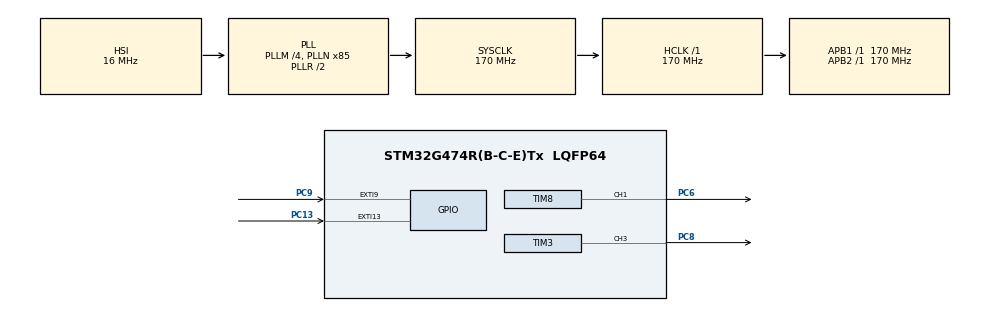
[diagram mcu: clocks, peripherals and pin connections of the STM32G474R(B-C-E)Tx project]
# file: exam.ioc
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Mcu.Family=STM32G4
Mcu.Name=STM32G474R(B-C-E)Tx
Mcu.Package=LQFP64
NVIC.EXTI15_10_IRQn=true\:1\:0\:true\:false\:true\:true\:true\:true
NVIC.EXTI9_5_IRQn=true\:0\:0\:false\:false\:true\:true\:true\:true
NVIC.PriorityGroup=NVIC_PRIORITYGROUP_4
PA13.GPIO_Label=T_SWDIO
PA13.Signal=SYS_JTMS-SWDIO
PA14.GPIO_Label=T_SWCLK
PA14.Signal=SYS_JTCK-SWCLK
PA2.GPIO_Label=LPUART1_TX [STLINKV3E_VCP_RX]
PA2.Signal=LPUART1_TX
PA3.GPIO_Label=LPUART1_RX [STLINKV3E_VCP_TX]
PA3.Signal=LPUART1_RX
PB3.GPIO_Label=T_SWO
PB3.Signal=SYS_JTDO-SWO
PC13.Signal=GPXTI13
PC14-OSC32_IN.GPIO_Label=RCC_OSC32_IN
PC14-OSC32_IN.Signal=RCC_OSC32_IN
PC15-OSC32_OUT.GPIO_Label=RCC_OSC32_OUT
PC15-OSC32_OUT.Signal=RCC_OSC32_OUT
PC6.Signal=S_TIM8_CH1
PC8.Signal=S_TIM3_CH3
PC9.Signal=GPXTI9
PF0-OSC_IN.GPIO_Label=RCC_OSC_IN
PF0-OSC_IN.Signal=RCC_OSC_IN
PF1-OSC_OUT.GPIO_Label=RCC_OSC_OUT
PF1-OSC_OUT.Signal=RCC_OSC_OUT
ProjectManager.HeapSize=0x200
ProjectManager.StackSize=0x400
ProjectManager.TargetToolchain=STM32CubeIDE
RCC.ADC12Freq_Value=170000000
RCC.ADC345Freq_Value=170000000
RCC.AHBFreq_Value=170000000
RCC.APB1Freq_Value=170000000
RCC.APB1TimFreq_Value=170000000
RCC.APB2Freq_Value=170000000
RCC.APB2TimFreq_Value=170000000
RCC.CortexFreq_Value=170000000
RCC.EXTERNAL_CLOCK_VALUE=12288000
RCC.HCLKFreq_Value=170000000
RCC.HSE_VALUE=24000000
RCC.HSI48_VALUE=48000000
RCC.HSI_VALUE=16000000
RCC.LSE_VALUE=32768
RCC.PLLM=RCC_PLLM_DIV4
RCC.PLLN=85
RCC.RTCClockSelection=RCC_RTCCLKSOURCE_LSE
RCC.SYSCLKFreq_VALUE=170000000
RCC.SYSCLKSource=RCC_SYSCLKSOURCE_PLLCLK
RCC.USBFreq_Value=170000000
RCC.VCOOutputFreq_Value=340000000
SH.S_TIM3_CH3.0=TIM3_CH3,PWM Generation3 CH3
SH.S_TIM8_CH1.0=TIM8_CH1,PWM Generation1 CH1
TIM3.Channel-PWM\ Generation3\ CH3=TIM_CHANNEL_3
TIM8.Channel-PWM\ Generation1\ CH1=TIM_CHANNEL_1
TIM8.PeriodNoDither=999
TIM8.Prescaler=169
VP_SYS_VS_DBSignals.Mode=DisableDeadBatterySignals
VP_TIM3_VS_ClockSourceINT.Mode=Internal
VP_TIM8_VS_ClockSourceINT.Mode=Internal
board=NUCLEO-G474RE

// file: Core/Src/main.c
/* USER CODE BEGIN Header */
/**
  ******************************************************************************
  * @file           : main.c
  * @brief          : Drink Reminder for NUCLEO-G474RE
  ******************************************************************************
  * @attention
  *
  * Hardware Pinout:
  * - PC13: Button (Check-in, Alarm off, Reset timer) -> EXTI13
  * - PC9 : Button (Cycle 30s / 45s / 60s)            -> EXTI9
  * - PC8 : LED PWM (Breathe idle, Rapid blink alarm) -> TIM3_CH3
  * - PC6 : Buzzer PWM (1~3 beeps, confirm, alarm)   -> TIM8_CH1
  *
  * Copyright (c) 2026 STMicroelectronics.
  * All rights reserved.
  ******************************************************************************
  */
/* USER CODE END Header */
#include "main.h"

/* USER CODE BEGIN Includes */
#include "stm32g4xx_hal_tim.h"
/* USER CODE END Includes */

/* USER CODE BEGIN PTD */
typedef enum {
    STATE_IDLE_COUNTDOWN,
    STATE_ALARM_TRIGGERED
} SystemState_t;

typedef enum {
    BEEP_IDLE,
    BEEP_SHORT_TONES,  // 切換檔位：嗶 1~3 聲
    BEEP_LONG_CONFIRM, // 打卡：長嗶 500ms
    BEEP_ALARM_RAPID   // 警報：急促連響
} BeepMode_t;
/* USER CODE END PTD */

/* USER CODE BEGIN PD */
#define DEBOUNCE_DELAY_MS 200
/* USER CODE END PD */

TIM_HandleTypeDef htim3;
TIM_HandleTypeDef htim8;

/* USER CODE BEGIN PV */
// 倒數檔位設定 (秒)
const uint32_t INTERVAL_SETTINGS[3] = {30, 45, 60};
volatile uint8_t current_interval_idx = 0; // 0: 30s, 1: 45s, 2: 60s

volatile SystemState_t sys_state = STATE_IDLE_COUNTDOWN;
volatile uint32_t target_countdown_ms = 30000;
volatile uint32_t countdown_start_tick = 0;

// 去彈跳時間戳記
volatile uint32_t last_pc13_press_tick = 0;
volatile uint32_t last_pc9_press_tick = 0;

// 蜂鳴器狀態控制變數
volatile BeepMode_t beep_mode = BEEP_IDLE;
volatile uint8_t beep_repeat_count = 0;
uint32_t beep_step_tick = 0;
uint8_t beep_state_step = 0;
/* USER CODE END PV */

void SystemClock_Config(void);
static void MX_GPIO_Init(void);
static void MX_TIM3_Init(void);
static void MX_TIM8_Init(void);
/* USER CODE BEGIN PFP */
void Buzzer_Set(uint8_t on);
void Update_Buzzer(uint32_t now);
void Update_LED(uint32_t now);
/* USER CODE END PFP */

int main(void)
{

  /* MCU Configuration--------------------------------------------------------*/

  /* Reset of all peripherals, Initializes the Flash interface and the Systick. */
  HAL_Init();

  /* Configure the system clock */
  SystemClock_Config();

  /* Initialize all configured peripherals */
  MX_GPIO_Init();
  MX_TIM3_Init();
  MX_TIM8_Init();
  /* USER CODE BEGIN 2 */
  // 1. 動態修正 TIM3 (LED PWM)：Prescaler 169, Period 999 產生 1 kHz PWM
  __HAL_TIM_SET_PRESCALER(&htim3, 169);
  __HAL_TIM_SET_AUTORELOAD(&htim3, 999);

  // 2. 啟動 PWM 輸出
  HAL_TIM_PWM_Start(&htim3, TIM_CHANNEL_3); // PC8 (LED)
  HAL_TIM_PWM_Start(&htim8, TIM_CHANNEL_1); // PC6 (Buzzer)

  // 3. 啟用 TIM8 高級定時器主輸出 (MOE)，使 PC6 順利輸出訊號
  __HAL_TIM_MOE_ENABLE(&htim8);
  Buzzer_Set(0);

  // 4. 動態修正 PC9 為 EXTI 下降緣觸發中斷並開啟 NVIC
  GPIO_InitTypeDef GPIO_InitStruct = {0};
  GPIO_InitStruct.Pin = GPIO_PIN_9;
  GPIO_InitStruct.Mode = GPIO_MODE_IT_FALLING;
  GPIO_InitStruct.Pull = GPIO_PULLUP;
  HAL_GPIO_Init(GPIOC, &GPIO_InitStruct);

  HAL_NVIC_SetPriority(EXTI9_5_IRQn, 2, 0);
  HAL_NVIC_EnableIRQ(EXTI9_5_IRQn);

  // 5. 初始化倒數計時時間點
  countdown_start_tick = HAL_GetTick();
  /* USER CODE END 2 */

  /* Infinite loop */
  /* USER CODE BEGIN WHILE */
  while (1)
  {
    uint32_t current_tick = HAL_GetTick();

    // 1. 倒數計時判斷
    if (sys_state == STATE_IDLE_COUNTDOWN)
    {
      if (current_tick - countdown_start_tick >= target_countdown_ms)
      {
        sys_state = STATE_ALARM_TRIGGERED;
        beep_mode = BEEP_ALARM_RAPID; // 切入急促連響
      }
    }

    // 2. 非阻塞更新輸出狀態
    Update_LED(current_tick);
    Update_Buzzer(current_tick);

    /* USER CODE END WHILE */

  }
}

void SystemClock_Config(void)
{
  RCC_OscInitTypeDef RCC_OscInitStruct = {0};
  RCC_ClkInitTypeDef RCC_ClkInitStruct = {0};

  /** Configure the main internal regulator output voltage
  */
  HAL_PWREx_ControlVoltageScaling(PWR_REGULATOR_VOLTAGE_SCALE1_BOOST);

  /** Initializes the RCC Oscillators according to the specified parameters
  * in the RCC_OscInitTypeDef structure.
  */
  RCC_OscInitStruct.OscillatorType = RCC_OSCILLATORTYPE_HSI;
  RCC_OscInitStruct.HSIState = RCC_HSI_ON;
  RCC_OscInitStruct.HSICalibrationValue = RCC_HSICALIBRATION_DEFAULT;
  RCC_OscInitStruct.PLL.PLLState = RCC_PLL_ON;
  RCC_OscInitStruct.PLL.PLLSource = RCC_PLLSOURCE_HSI;
  RCC_OscInitStruct.PLL.PLLM = RCC_PLLM_DIV4;
  RCC_OscInitStruct.PLL.PLLN = 85;
  RCC_OscInitStruct.PLL.PLLP = RCC_PLLP_DIV2;
  RCC_OscInitStruct.PLL.PLLQ = RCC_PLLQ_DIV2;
  RCC_OscInitStruct.PLL.PLLR = RCC_PLLR_DIV2;
  if (HAL_RCC_OscConfig(&RCC_OscInitStruct) != HAL_OK)
  {
    Error_Handler();
  }

  /** Initializes the CPU, AHB and APB buses clocks
  */
  RCC_ClkInitStruct.ClockType = RCC_CLOCKTYPE_HCLK|RCC_CLOCKTYPE_SYSCLK
                              |RCC_CLOCKTYPE_PCLK1|RCC_CLOCKTYPE_PCLK2;
  RCC_ClkInitStruct.SYSCLKSource = RCC_SYSCLKSOURCE_PLLCLK;
  RCC_ClkInitStruct.AHBCLKDivider = RCC_SYSCLK_DIV1;
  RCC_ClkInitStruct.APB1CLKDivider = RCC_HCLK_DIV1;
  RCC_ClkInitStruct.APB2CLKDivider = RCC_HCLK_DIV1;

  if (HAL_RCC_ClockConfig(&RCC_ClkInitStruct, FLASH_LATENCY_4) != HAL_OK)
  {
    Error_Handler();
  }
}

static void MX_TIM3_Init(void)
{

  TIM_ClockConfigTypeDef sClockSourceConfig = {0};
  TIM_MasterConfigTypeDef sMasterConfig = {0};
  TIM_OC_InitTypeDef sConfigOC = {0};

  htim3.Instance = TIM3;
  htim3.Init.Prescaler = 0;
  htim3.Init.CounterMode = TIM_COUNTERMODE_UP;
  htim3.Init.Period = 65535;
  htim3.Init.ClockDivision = TIM_CLOCKDIVISION_DIV1;
  htim3.Init.AutoReloadPreload = TIM_AUTORELOAD_PRELOAD_DISABLE;
  if (HAL_TIM_Base_Init(&htim3) != HAL_OK)
  {
    Error_Handler();
  }
  sClockSourceConfig.ClockSource = TIM_CLOCKSOURCE_INTERNAL;
  if (HAL_TIM_ConfigClockSource(&htim3, &sClockSourceConfig) != HAL_OK)
  {
    Error_Handler();
  }
  if (HAL_TIM_PWM_Init(&htim3) != HAL_OK)
  {
    Error_Handler();
  }
  sMasterConfig.MasterOutputTrigger = TIM_TRGO_RESET;
  sMasterConfig.MasterSlaveMode = TIM_MASTERSLAVEMODE_DISABLE;
  if (HAL_TIMEx_MasterConfigSynchronization(&htim3, &sMasterConfig) != HAL_OK)
  {
    Error_Handler();
  }
  sConfigOC.OCMode = TIM_OCMODE_PWM1;
  sConfigOC.Pulse = 0;
  sConfigOC.OCPolarity = TIM_OCPOLARITY_HIGH;
  sConfigOC.OCFastMode = TIM_OCFAST_DISABLE;
  if (HAL_TIM_PWM_ConfigChannel(&htim3, &sConfigOC, TIM_CHANNEL_3) != HAL_OK)
  {
    Error_Handler();
  }
  HAL_TIM_MspPostInit(&htim3);

}

static void MX_TIM8_Init(void)
{

  TIM_ClockConfigTypeDef sClockSourceConfig = {0};
  TIM_MasterConfigTypeDef sMasterConfig = {0};
  TIM_OC_InitTypeDef sConfigOC = {0};
  TIM_BreakDeadTimeConfigTypeDef sBreakDeadTimeConfig = {0};

  htim8.Instance = TIM8;
  htim8.Init.Prescaler = 169;
  htim8.Init.CounterMode = TIM_COUNTERMODE_UP;
  htim8.Init.Period = 999;
  htim8.Init.ClockDivision = TIM_CLOCKDIVISION_DIV1;
  htim8.Init.RepetitionCounter = 0;
  htim8.Init.AutoReloadPreload = TIM_AUTORELOAD_PRELOAD_DISABLE;
  if (HAL_TIM_Base_Init(&htim8) != HAL_OK)
  {
    Error_Handler();
  }
  sClockSourceConfig.ClockSource = TIM_CLOCKSOURCE_INTERNAL;
  if (HAL_TIM_ConfigClockSource(&htim8, &sClockSourceConfig) != HAL_OK)
  {
    Error_Handler();
  }
  if (HAL_TIM_PWM_Init(&htim8) != HAL_OK)
  {
    Error_Handler();
  }
  sMasterConfig.MasterOutputTrigger = TIM_TRGO_RESET;
  sMasterConfig.MasterOutputTrigger2 = TIM_TRGO2_RESET;
  sMasterConfig.MasterSlaveMode = TIM_MASTERSLAVEMODE_DISABLE;
  if (HAL_TIMEx_MasterConfigSynchronization(&htim8, &sMasterConfig) != HAL_OK)
  {
    Error_Handler();
  }
  sConfigOC.OCMode = TIM_OCMODE_PWM1;
  sConfigOC.Pulse = 0;
  sConfigOC.OCPolarity = TIM_OCPOLARITY_HIGH;
  sConfigOC.OCNPolarity = TIM_OCNPOLARITY_HIGH;
  sConfigOC.OCFastMode = TIM_OCFAST_DISABLE;
  sConfigOC.OCIdleState = TIM_OCIDLESTATE_RESET;
  sConfigOC.OCNIdleState = TIM_OCNIDLESTATE_RESET;
  if (HAL_TIM_PWM_ConfigChannel(&htim8, &sConfigOC, TIM_CHANNEL_1) != HAL_OK)
  {
    Error_Handler();
  }
  sBreakDeadTimeConfig.OffStateRunMode = TIM_OSSR_DISABLE;
  sBreakDeadTimeConfig.OffStateIDLEMode = TIM_OSSI_DISABLE;
  sBreakDeadTimeConfig.LockLevel = TIM_LOCKLEVEL_OFF;
  sBreakDeadTimeConfig.DeadTime = 0;
  sBreakDeadTimeConfig.BreakState = TIM_BREAK_DISABLE;
  sBreakDeadTimeConfig.BreakPolarity = TIM_BREAKPOLARITY_HIGH;
  sBreakDeadTimeConfig.BreakFilter = 0;
  sBreakDeadTimeConfig.BreakAFMode = TIM_BREAK_AFMODE_INPUT;
  sBreakDeadTimeConfig.Break2State = TIM_BREAK2_DISABLE;
  sBreakDeadTimeConfig.Break2Polarity = TIM_BREAK2POLARITY_HIGH;
  sBreakDeadTimeConfig.Break2Filter = 0;
  sBreakDeadTimeConfig.Break2AFMode = TIM_BREAK_AFMODE_INPUT;
  sBreakDeadTimeConfig.AutomaticOutput = TIM_AUTOMATICOUTPUT_DISABLE;
  if (HAL_TIMEx_ConfigBreakDeadTime(&htim8, &sBreakDeadTimeConfig) != HAL_OK)
  {
    Error_Handler();
  }
  HAL_TIM_MspPostInit(&htim8);

}

static void MX_GPIO_Init(void)
{
  GPIO_InitTypeDef GPIO_InitStruct = {0};

  /* GPIO Ports Clock Enable */
  __HAL_RCC_GPIOC_CLK_ENABLE();
  __HAL_RCC_GPIOF_CLK_ENABLE();
  __HAL_RCC_GPIOA_CLK_ENABLE();
  __HAL_RCC_GPIOB_CLK_ENABLE();

  /*Configure GPIO pins : PC13 PC9 */
  GPIO_InitStruct.Pin = GPIO_PIN_13|GPIO_PIN_9;
  GPIO_InitStruct.Mode = GPIO_MODE_IT_RISING;
  GPIO_InitStruct.Pull = GPIO_NOPULL;
  HAL_GPIO_Init(GPIOC, &GPIO_InitStruct);

  /*Configure GPIO pins : LPUART1_TX_Pin LPUART1_RX_Pin */
  GPIO_InitStruct.Pin = LPUART1_TX_Pin|LPUART1_RX_Pin;
  GPIO_InitStruct.Mode = GPIO_MODE_AF_PP;
  GPIO_InitStruct.Pull = GPIO_NOPULL;
  GPIO_InitStruct.Speed = GPIO_SPEED_FREQ_LOW;
  GPIO_InitStruct.Alternate = GPIO_AF12_LPUART1;
  HAL_GPIO_Init(GPIOA, &GPIO_InitStruct);

  /* EXTI interrupt init*/
  HAL_NVIC_SetPriority(EXTI9_5_IRQn, 0, 0);
  HAL_NVIC_EnableIRQ(EXTI9_5_IRQn);

  HAL_NVIC_SetPriority(EXTI15_10_IRQn, 1, 0);
  HAL_NVIC_EnableIRQ(EXTI15_10_IRQn);

}

/* USER CODE BEGIN 4 */

/**
  * @brief EXTI 外部中斷回呼函式（含軟體時間戳去彈跳）
  */
void HAL_GPIO_EXTI_Callback(uint16_t GPIO_Pin)
{
  uint32_t now = HAL_GetTick();

  // PC9: 切換倒數時間 (30s -> 45s -> 60s -> 30s)
  if (GPIO_Pin == GPIO_PIN_9)
  {
    if (now - last_pc9_press_tick > DEBOUNCE_DELAY_MS)
    {
      last_pc9_press_tick = now;

      // 換檔並更新目標時間
      current_interval_idx = (current_interval_idx + 1) % 3;
      target_countdown_ms = INTERVAL_SETTINGS[current_interval_idx] * 1000;
      countdown_start_tick = now; // 換檔後重新倒數

      // 觸發對應聲響 (檔位 0 -> 1 聲, 檔位 1 -> 2 聲, 檔位 2 -> 3 聲)
      beep_mode = BEEP_SHORT_TONES;
      beep_repeat_count = current_interval_idx + 1;
      beep_state_step = 0;
      beep_step_tick = now;

      sys_state = STATE_IDLE_COUNTDOWN;
    }
  }
  // PC13: 確認打卡 / 關閉警報 / 重設倒數
  else if (GPIO_Pin == GPIO_PIN_13)
  {
    if (now - last_pc13_press_tick > DEBOUNCE_DELAY_MS)
    {
      last_pc13_press_tick = now;

      // 恢復倒數狀態並重設計時器
      countdown_start_tick = now;
      sys_state = STATE_IDLE_COUNTDOWN;

      // 觸發打卡長音 (500ms)
      beep_mode = BEEP_LONG_CONFIRM;
      beep_state_step = 0;
      beep_step_tick = now;
    }
  }
}

/**
  * @brief 蜂鳴器 PWM 啟閉控制
  */
void Buzzer_Set(uint8_t on)
{
  if (on) {
    __HAL_TIM_SET_COMPARE(&htim8, TIM_CHANNEL_1, 500); // 50% 佔空比 (ARR=999)
  } else {
    __HAL_TIM_SET_COMPARE(&htim8, TIM_CHANNEL_1, 0);   // 靜音
  }
}

/**
  * @brief 蜂鳴器非阻塞狀態機處理
  */
void Update_Buzzer(uint32_t now)
{
  switch (beep_mode)
  {
    case BEEP_IDLE:
      Buzzer_Set(0);
      break;

    case BEEP_SHORT_TONES:
      // 嗶 80ms，靜音 80ms
      if (beep_state_step % 2 == 0) {
        Buzzer_Set(1);
        if (now - beep_step_tick >= 80) {
          beep_step_tick = now;
          beep_state_step++;
        }
      } else {
        Buzzer_Set(0);
        if (now - beep_step_tick >= 80) {
          beep_step_tick = now;
          beep_state_step++;
          if ((beep_state_step / 2) >= beep_repeat_count) {
            beep_mode = BEEP_IDLE;
          }
        }
      }
      break;

    case BEEP_LONG_CONFIRM:
      // 長嗶 500ms
      if (beep_state_step == 0) {
        Buzzer_Set(1);
        if (now - beep_step_tick >= 500) {
          beep_step_tick = now;
          beep_state_step = 1;
        }
      } else {
        Buzzer_Set(0);
        beep_mode = BEEP_IDLE;
      }
      break;

    case BEEP_ALARM_RAPID:
      // 急促警報：150ms 響 / 150ms 停
      if ((now / 150) % 2 == 0) {
        Buzzer_Set(1);
      } else {
        Buzzer_Set(0);
      }
      break;
  }
}

/**
  * @brief LED 燈效更新處理 (PC8 PWM 柔和呼吸 / 急促快閃)
  */
void Update_LED(uint32_t now)
{
  if (sys_state == STATE_IDLE_COUNTDOWN)
  {
    // 平常狀態：柔和呼吸燈 (週期 2000ms：1000ms 漸亮，1000ms 漸暗)
    uint32_t phase = now % 2000;
    uint32_t duty = 0;

    if (phase < 1000) {
      duty = (phase * 999) / 1000;
    } else {
      duty = ((2000 - phase) * 999) / 1000;
    }
    __HAL_TIM_SET_COMPARE(&htim3, TIM_CHANNEL_3, duty);
  }
  else if (sys_state == STATE_ALARM_TRIGGERED)
  {
    // 警報狀態：100ms 亮 / 100ms 暗急促閃爍
    if ((now / 100) % 2 == 0) {
      __HAL_TIM_SET_COMPARE(&htim3, TIM_CHANNEL_3, 999);
    } else {
      __HAL_TIM_SET_COMPARE(&htim3, TIM_CHANNEL_3, 0);
    }
  }
}

/* USER CODE END 4 */

void Error_Handler(void)
{
  __disable_irq();
  while (1)
  {
  }
}
